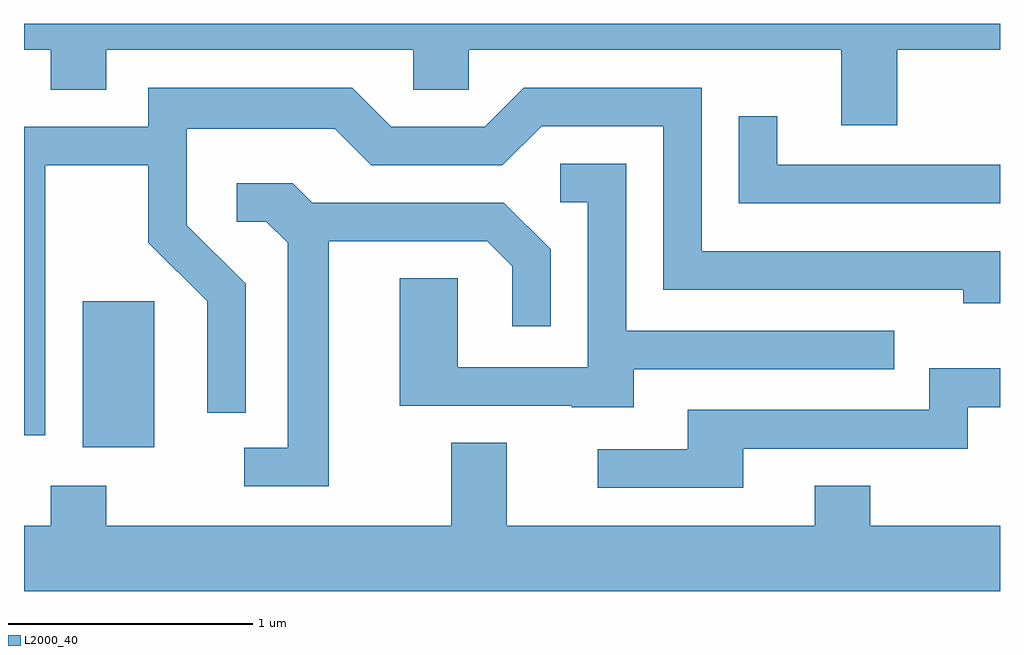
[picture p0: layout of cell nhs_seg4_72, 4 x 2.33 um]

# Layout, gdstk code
import gdstk
lib = gdstk.Library(unit=1e-6, precision=1e-09)
def R(c, l, rs):  # rectangles x0, y0, x1, y1
    for r in rs: c.add(gdstk.rectangle(r[:2], r[2:], *l))
def P(c, l, *ps):  # polygons
    for p in ps: c.add(gdstk.Polygon(p, *l))
L2000_40 = (2000, 40)

nhs_seg4_72 = lib.new_cell('nhs_seg4_72')
R(nhs_seg4_72, L2000_40, [(187.851,1264.246,188.144,1264.844)])
P(nhs_seg4_72, L2000_40, [(191.189,1265.876),(191.611,1265.876),(191.611,1265.982),(187.611,1265.982),(187.611,1265.876),(187.721,1265.876),(187.721,1265.711),(187.949,1265.711),(187.949,1265.876),(189.206,1265.876),(189.206,1265.711),(189.434,1265.711),(189.434,1265.876),(190.961,1265.876),(190.961,1265.566),(191.189,1265.566)],
  [(187.699,1265.401),(188.121,1265.401),(188.121,1265.084),(188.361,1264.844),(188.361,1264.388),(188.519,1264.388),(188.519,1264.917),(188.279,1265.157),(188.279,1265.551),(188.884,1265.551),(189.034,1265.401),(189.572,1265.401),(189.732,1265.561),(190.231,1265.561),(190.231,1264.891),(191.461,1264.891),(191.461,1264.836),(191.611,1264.836),(191.611,1265.049),(190.389,1265.049),(190.389,1265.719),(189.659,1265.719),(189.499,1265.559),(189.117,1265.559),(188.957,1265.719),(188.121,1265.719),(188.121,1265.559),(187.611,1265.559),(187.611,1264.296),(187.699,1264.296)],
  [(191.611,1265.404),(190.699,1265.404),(190.699,1265.603),(190.541,1265.603),(190.541,1265.246),(191.611,1265.246)],
  [(190.109,1264.566),(191.178,1264.566),(191.178,1264.724),(190.079,1264.724),(190.079,1265.409),(189.808,1265.409),(189.808,1265.251),(189.921,1265.251),(189.921,1264.574),(189.389,1264.574),(189.389,1264.939),(189.151,1264.939),(189.151,1264.416),(189.855,1264.416),(189.855,1264.411),(190.109,1264.411)],
  [(188.859,1265.091),(189.509,1265.091),(189.611,1264.989),(189.611,1264.743),(189.769,1264.743),(189.769,1265.057),(189.577,1265.249),(188.792,1265.249),(188.712,1265.329),(188.483,1265.329),(188.483,1265.171),(188.604,1265.171),(188.691,1265.084),(188.691,1264.244),(188.513,1264.244),(188.513,1264.086),(188.859,1264.086)],
  [(190.559,1264.241),(191.479,1264.241),(191.479,1264.411),(191.611,1264.411),(191.611,1264.569),(191.321,1264.569),(191.321,1264.399),(190.331,1264.399),(190.331,1264.239),(189.963,1264.239),(189.963,1264.081),(190.559,1264.081)],
  [(191.611,1263.924),(191.079,1263.924),(191.079,1264.089),(190.851,1264.089),(190.851,1263.924),(189.589,1263.924),(189.589,1264.264),(189.361,1264.264),(189.361,1263.924),(187.949,1263.924),(187.949,1264.089),(187.721,1264.089),(187.721,1263.924),(187.611,1263.924),(187.611,1263.656),(191.611,1263.656)])

lib.write_gds('nhs_seg4_72.gds')
